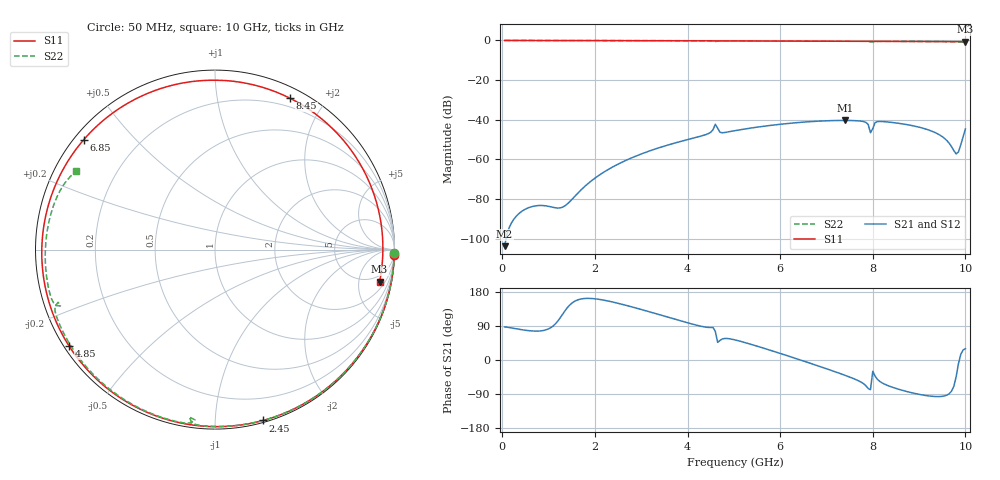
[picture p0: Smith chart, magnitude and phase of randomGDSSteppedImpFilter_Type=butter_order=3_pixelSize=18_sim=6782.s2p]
! freq	dB(S11)	phase(S11)	dB(S12)	phase(S12)
!  dB(S21)	phase(S21)	dB(S22)	phase(S22)
!S-par simulation data
#  GHz  S  DB  R 50
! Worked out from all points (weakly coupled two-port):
!   200 points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, 50 MHz to 10 GHz, reference 50 ohm
!   highest |S21| = -40.35 dB at 7.4 GHz (marker M1); lowest = -103.8 dB at 50 MHz (marker M2)
!   lowest |S11| = -0.6 dB at 10 GHz (marker M3), VSWR 29.22, Z = 165 - j460 ohm
!   |S11| at or under -10 dB: nowhere
!   |S22| runs from -1.0 to 0.0 dB; largest |S21 - S12| = 0
!   S11 on the Smith chart (normalised r, x): 50 MHz: 1, -73; 2.45 GHz: 0.02, -1.32; 4.85 GHz: 0.01, -0.30; 6.85 GHz: 0.03, +0.36; 8.45 GHz: 0.11, +1.61; 10 GHz: 3.30, -9.20
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0.05  -0.00 -1.6  -103.78 87.2  -103.78 87.2  -0.00 -1.2
1.5  -0.06 -45.9  -80.25 149.9  -80.25 149.9  -0.04 -33.6
1.75  -0.07 -53.4  -74.29 162.0  -74.29 162.0  -0.05 -39.1
2.45  -0.10 -74.3  -63.00 151.1  -63.00 151.1  -0.07 -54.1
3.4  -0.14 -102.4  -54.02 119.3  -54.02 119.3  -0.10 -73.8
4.45  -0.20 -134.1  -46.99 86.0  -46.99 86.0  -0.15 -95.0
4.6  -0.21 -138.7  -42.28 75.7  -42.28 75.7  -0.51 -98.8
4.7  -0.21 -141.9  -46.33 51.6  -46.33 51.6  -0.21 -98.2
4.85  -0.23 -146.7  -46.25 56.8  -46.25 56.8  -0.16 -101.7
5.05  -0.24 -153.1  -45.40 52.3  -45.40 52.3  -0.16 -105.7
5.9  -0.32 177.6  -42.55 21.3  -42.55 21.3  -0.21 -121.7
6.7  -0.39 146.4  -40.88 -10.6  -40.88 -10.6  -0.26 -136.6
6.85  -0.41 140.1  -40.68 -16.8  -40.68 -16.8  -0.27 -139.4
7.4  -0.46 115.5  -40.35 -40.3  -40.35 -40.3  -0.32 -149.8
7.85  -0.50 93.9  -41.31 -67.6  -41.31 -67.6  -0.41 -159.1
7.95  -0.51 89.0  -46.54 -78.3  -46.54 -78.3  -0.71 -161.4
8.05  -0.51 84.0  -41.43 -42.4  -41.43 -42.4  -0.54 -160.6
8.35  -0.52 68.8  -41.19 -68.6  -41.19 -68.6  -0.43 -167.4
8.45  -0.53 63.7  -41.46 -73.0  -41.46 -73.0  -0.44 -169.5
9.4  -0.56 16.2  -47.09 -96.6  -47.09 -96.6  -0.56 169.8
9.8  -0.58 -2.3  -57.24 -44.5  -57.24 -44.5  -0.70 158.8
10  -0.59 -11.0  -44.64 29.9  -44.64 29.9  -1.04 150.5
